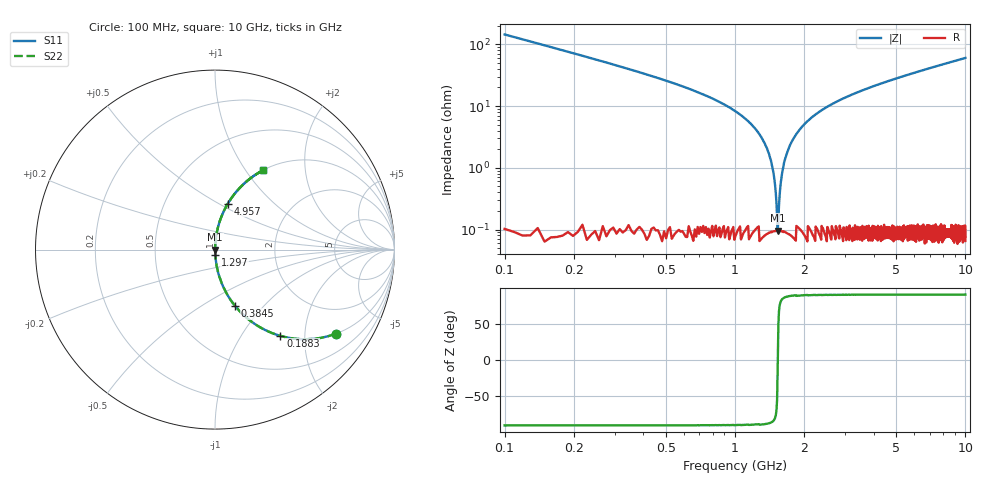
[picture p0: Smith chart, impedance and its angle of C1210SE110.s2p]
! AVX Thin Film Operation		Date: April 2012
! Description: Accu-P® Series, Thin Film, SMD, RF Capacitor
! Part Number: 12101J110FBTTR
!	100	MHz	-	10.05	GHz
!	Serial	Measurements
#	MHZ	S	MA	R	50
!	S11	S21	S12	S22
!	dB	Phase	dB	Phase	dB	Phase	dB	Phase
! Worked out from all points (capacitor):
!   1010 points, 100 MHz to 10 GHz, reference 50 ohm
!   read as one part in series: C = 11 pF near 149.1 MHz
!   lowest |Z| = 96.3 mohm at 1.533 GHz (marker M1)
!   series resonance near 1.534 GHz, so ESL is about 980 pH
!   S11 on the Smith chart (normalised r, x): 100 MHz: 1.00, -2.88; 188.3 MHz: 1.00, -1.51; 384.5 MHz: 1.00, -0.70; 1.297 GHz: 1.00, -0.06; 4.957 GHz: 1.00, +0.55; 10 GHz: 1.00, +1.20
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100  0.821 -34.8  0.57 55.2  0.57 55.2  0.821 -34.8
188.305  0.603 -52.8  0.797 37.1  0.797 37.1  0.603 -52.8
276.611  0.451 -63.1  0.892 26.8  0.892 26.8  0.451 -63.1
384.539  0.332 -70.4  0.942 19.4  0.942 19.4  0.332 -70.4
1051.734  0.073 -85.1  0.996 4.2  0.996 4.2  0.073 -85.1
1297.027  0.032 -86.6  0.999 1.8  0.999 1.8  0.032 -86.6
1424.579  0.014 -85.5  0.999 0.8  0.999 0.8  0.014 -85.5
1454.014  0.01 -84.3  0.999 0.6  0.999 0.6  0.01 -84.3
1503.072  0.00391 -76.5  0.999 0.2  0.999 0.2  0.00391 -76.5
1532.507  0.000912 -9.7  0.999 0.0  0.999 0.0  0.000912 -9.7
1571.754  0.0047 78.7  0.999 -0.3  0.999 -0.3  0.0047 78.7
1611.001  0.00931 83.9  0.999 -0.5  0.999 -0.5  0.00931 83.9
1640.436  0.013 85.2  0.999 -0.7  0.999 -0.7  0.013 85.2
1758.176  0.026 86.5  0.999 -1.5  0.999 -1.5  0.026 86.5
1983.845  0.049 86.1  0.998 -2.8  0.998 -2.8  0.049 86.1
2278.196  0.076 85.0  0.996 -4.4  0.996 -4.4  0.076 85.0
3406.541  0.165 80.2  0.985 -9.5  0.985 -9.5  0.165 80.2
4956.789  0.266 74.4  0.963 -15.4  0.963 -15.4  0.266 74.4
5054.906  0.271 74.1  0.962 -15.8  0.962 -15.8  0.271 74.1
6703.271  0.364 68.5  0.931 -21.3  0.931 -21.3  0.364 68.5
8351.635  0.444 63.5  0.895 -26.4  0.895 -26.4  0.444 63.5
10000  0.515 58.9  0.857 -31.0  0.857 -31.0  0.515 58.9
